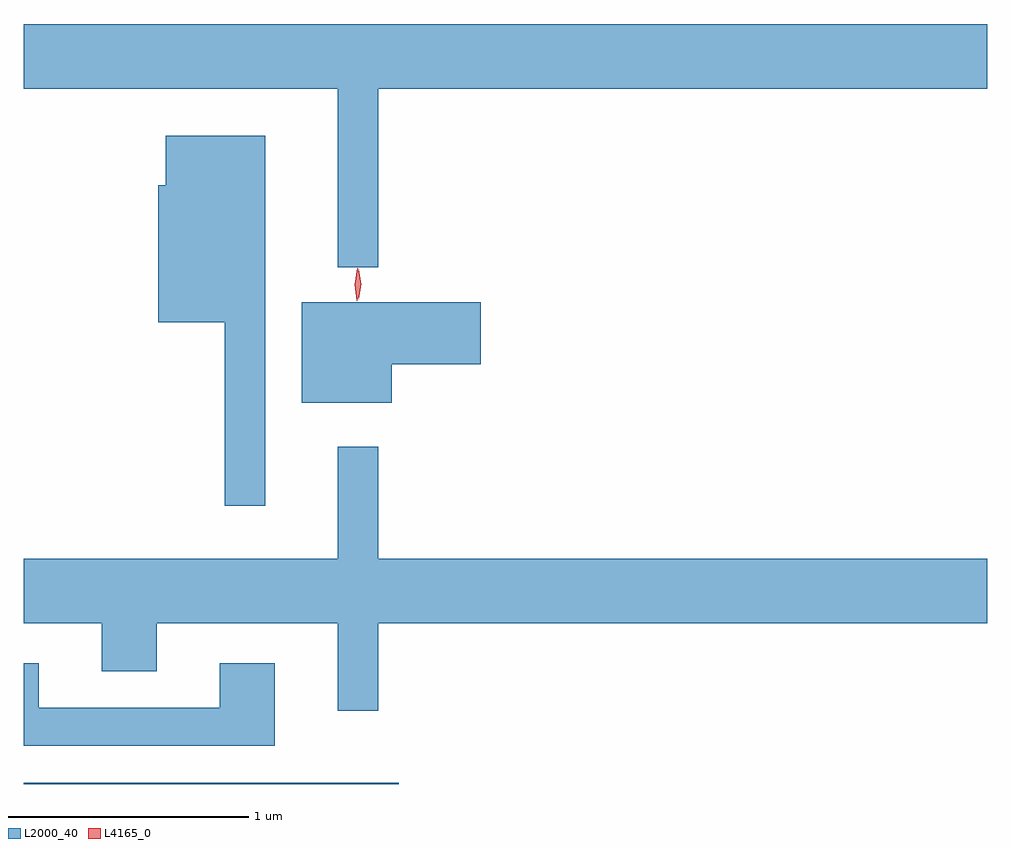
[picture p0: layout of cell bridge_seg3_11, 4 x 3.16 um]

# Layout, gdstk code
import gdstk
lib = gdstk.Library(unit=1e-6, precision=1e-09)
def R(c, l, rs):  # rectangles x0, y0, x1, y1
    for r in rs: c.add(gdstk.rectangle(r[:2], r[2:], *l))
def P(c, l, *ps):  # polygons
    for p in ps: c.add(gdstk.Polygon(p, *l))
L2000_40 = (2000, 40)
L4165_0 = (4165, 0)

bridge_seg3_11 = lib.new_cell('bridge_seg3_11')
R(bridge_seg3_11, L2000_40, [(1681.757,1205.268,1683.314,1205.274)])
P(bridge_seg3_11, L2000_40, [(1683.229,1208.156),(1685.757,1208.156),(1685.757,1208.424),(1681.757,1208.424),(1681.757,1208.156),(1683.061,1208.156),(1683.061,1207.413),(1683.229,1207.413)],
  [(1682.759,1207.959),(1682.346,1207.959),(1682.346,1207.754),(1682.316,1207.754),(1682.316,1207.186),(1682.591,1207.186),(1682.591,1206.423),(1682.759,1206.423)],
  [(1683.284,1207.011),(1683.654,1207.011),(1683.654,1207.269),(1682.911,1207.269),(1682.911,1206.851),(1683.284,1206.851)],
  [(1683.229,1205.936),(1685.757,1205.936),(1685.757,1206.204),(1683.229,1206.204),(1683.229,1206.668),(1683.061,1206.668),(1683.061,1206.204),(1681.757,1206.204),(1681.757,1205.936),(1682.081,1205.936),(1682.081,1205.736),(1682.309,1205.736),(1682.309,1205.936),(1683.061,1205.936),(1683.061,1205.573),(1683.229,1205.573)],
  [(1682.799,1205.769),(1682.571,1205.769),(1682.571,1205.584),(1681.819,1205.584),(1681.819,1205.769),(1681.757,1205.769),(1681.757,1205.426),(1682.799,1205.426)])
P(bridge_seg3_11, L4165_0, [(1683.147,1207.28),(1683.138,1207.343),(1683.147,1207.406),(1683.148,1207.407),(1683.148,1207.406),(1683.158,1207.343),(1683.148,1207.28),(1683.148,1207.28)],
  [(1683.14,1207.274),(1683.132,1207.342),(1683.142,1207.41),(1683.142,1207.41),(1683.143,1207.41),(1683.152,1207.342),(1683.141,1207.274),(1683.141,1207.274)])

lib.write_gds('bridge_seg3_11.gds')
